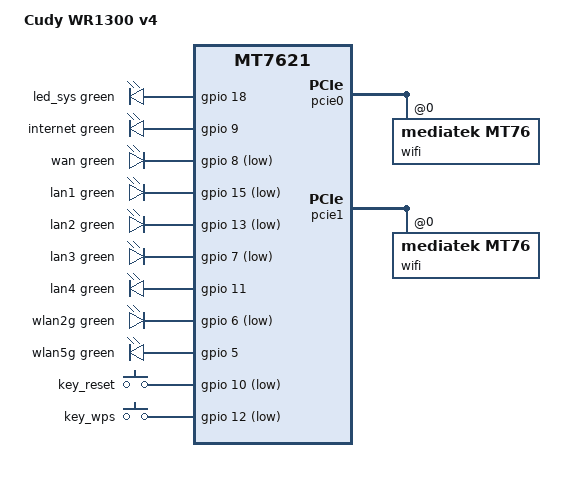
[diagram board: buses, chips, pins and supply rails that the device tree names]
// SPDX-License-Identifier: GPL-2.0-or-later OR MIT

#include "mt7621_cudy_wr1300.dtsi"

/ {
	compatible = "cudy,wr1300-v4", "mediatek,mt7621-soc";
	model = "Cudy WR1300 v4";

	leds {
		compatible = "gpio-leds";

		led_sys: sys {
			function = LED_FUNCTION_STATUS;
			color = <LED_COLOR_ID_GREEN>;
			gpios = <&gpio 18 GPIO_ACTIVE_HIGH>;
		};

		internet {
			function = LED_FUNCTION_WAN_ONLINE;
			color = <LED_COLOR_ID_GREEN>;
			gpios = <&gpio 9 GPIO_ACTIVE_HIGH>;
		};

		wan {
			function = LED_FUNCTION_WAN;
			color = <LED_COLOR_ID_GREEN>;
			gpios = <&gpio 8 GPIO_ACTIVE_LOW>;
		};

		lan1 {
			function = "lan1";
			color = <LED_COLOR_ID_GREEN>;
			gpios = <&gpio 15 GPIO_ACTIVE_LOW>;
		};

		lan2 {
			function = "lan2";
			color = <LED_COLOR_ID_GREEN>;
			gpios = <&gpio 13 GPIO_ACTIVE_LOW>;
		};

		lan3 {
			function = "lan3";
			color = <LED_COLOR_ID_GREEN>;
			gpios = <&gpio 7 GPIO_ACTIVE_LOW>;
		};

		lan4 {
			function = "lan4";
			color = <LED_COLOR_ID_GREEN>;
			gpios = <&gpio 11 GPIO_ACTIVE_HIGH>;
		};

		wlan2g {
			function = LED_FUNCTION_WLAN_2GHZ;
			color = <LED_COLOR_ID_GREEN>;
			gpios = <&gpio 6 GPIO_ACTIVE_LOW>;
		};

		wlan5g {
			function = LED_FUNCTION_WLAN_5GHZ;
			color = <LED_COLOR_ID_GREEN>;
			gpios = <&gpio 5 GPIO_ACTIVE_HIGH>;
		};
	};
};

&key_reset {
	gpios = <&gpio 10 GPIO_ACTIVE_LOW>;
};

&key_wps {
	gpios = <&gpio 12 GPIO_ACTIVE_LOW>;
};

&pcie0 {
	wifi@0,0 {
		compatible = "mediatek,mt76";
		reg = <0x0000 0 0 0 0>;
		nvmem-cells = <&eeprom_factory_0>, <&macaddr_bdinfo_de00 0>;
		nvmem-cell-names = "eeprom", "mac-address";
		ieee80211-freq-limit = <2400000 2500000>;
	};
};

&pcie1 {
	wifi@0,0 {
		compatible = "mediatek,mt76";
		reg = <0x0000 0 0 0 0>;
		nvmem-cells = <&eeprom_factory_8000>, <&macaddr_bdinfo_de00 2>;
		nvmem-cell-names = "eeprom", "mac-address";
		ieee80211-freq-limit = <5000000 6000000>;
	};
};

&state_default {
	gpio {
		groups = "wdt", "i2c", "jtag", "uart2", "uart3";
	};
};
